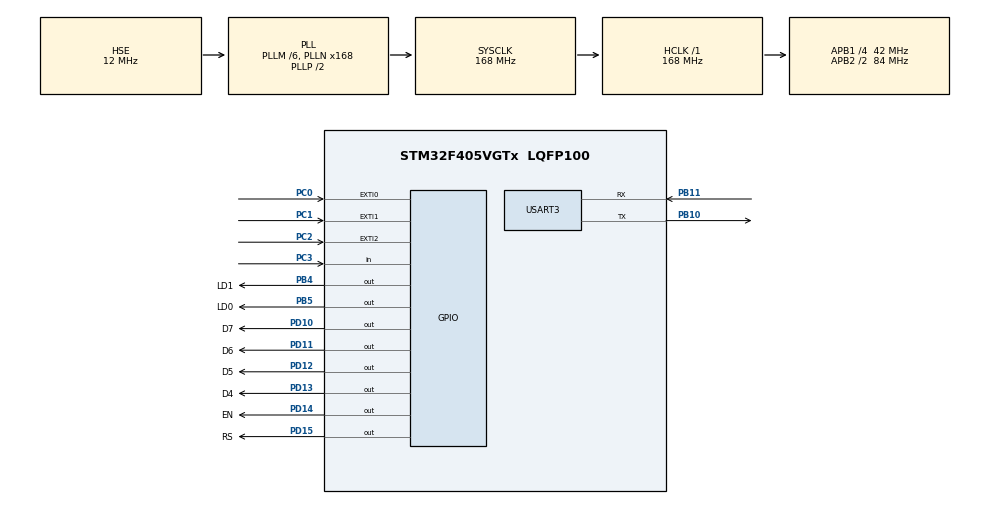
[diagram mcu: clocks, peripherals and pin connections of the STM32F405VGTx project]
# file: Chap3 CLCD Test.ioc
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Mcu.Family=STM32F4
Mcu.Name=STM32F405VGTx
Mcu.Package=LQFP100
NVIC.EXTI0_IRQn=true\:0\:0\:false\:true\:true\:1\:true\:true\:true
NVIC.EXTI1_IRQn=true\:0\:0\:false\:true\:true\:2\:true\:true\:true
NVIC.EXTI2_IRQn=true\:0\:0\:false\:true\:true\:3\:true\:true\:true
NVIC.PriorityGroup=NVIC_PRIORITYGROUP_4
NVIC.USART3_IRQn=true\:0\:0\:false\:true\:true\:4\:true\:true\:true
PB10.Mode=Asynchronous
PB10.Signal=USART3_TX
PB11.Mode=Asynchronous
PB11.Signal=USART3_RX
PB4.GPIO_Label=LD1
PB4.Signal=GPIO_Output
PB5.GPIO_Label=LD0
PB5.Signal=GPIO_Output
PC0.GPIO_ModeDefaultEXTI=GPIO_MODE_IT_FALLING
PC0.Signal=GPXTI0
PC1.GPIO_ModeDefaultEXTI=GPIO_MODE_IT_FALLING
PC1.Signal=GPXTI1
PC2.GPIO_ModeDefaultEXTI=GPIO_MODE_IT_FALLING
PC2.Signal=GPXTI2
PC3.Signal=GPIO_Input
PD10.GPIO_Label=D7
PD10.Signal=GPIO_Output
PD11.GPIO_Label=D6
PD11.Signal=GPIO_Output
PD12.GPIO_Label=D5
PD12.Signal=GPIO_Output
PD13.GPIO_Label=D4
PD13.Signal=GPIO_Output
PD14.GPIO_Label=EN
PD14.Signal=GPIO_Output
PD15.GPIO_Label=RS
PD15.Signal=GPIO_Output
PH0-OSC_IN.Mode=HSE-External-Oscillator
PH0-OSC_IN.Signal=RCC_OSC_IN
PH1-OSC_OUT.Mode=HSE-External-Oscillator
PH1-OSC_OUT.Signal=RCC_OSC_OUT
ProjectManager.HeapSize=0x200
ProjectManager.StackSize=0x400
ProjectManager.TargetToolchain=STM32CubeIDE
RCC.48MHZClocksFreq_Value=84000000
RCC.AHBFreq_Value=168000000
RCC.APB1CLKDivider=RCC_HCLK_DIV4
RCC.APB1Freq_Value=42000000
RCC.APB1TimFreq_Value=84000000
RCC.APB2CLKDivider=RCC_HCLK_DIV2
RCC.APB2Freq_Value=84000000
RCC.APB2TimFreq_Value=168000000
RCC.CortexFreq_Value=168000000
RCC.HCLKFreq_Value=168000000
RCC.HSE_VALUE=12000000
RCC.HSI_VALUE=16000000
RCC.LSE_VALUE=32768
RCC.PLLM=6
RCC.PLLN=168
RCC.PLLSourceVirtual=RCC_PLLSOURCE_HSE
RCC.SYSCLKFreq_VALUE=168000000
RCC.SYSCLKSource=RCC_SYSCLKSOURCE_PLLCLK
RCC.VCOOutputFreq_Value=336000000
TIM4.Prescaler=83
USART3.VirtualMode=VM_ASYNC
VP_TIM4_VS_ClockSourceINT.Mode=Internal
board=custom

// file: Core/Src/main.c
/* USER CODE BEGIN Header */
/**
  ******************************************************************************
  * @file           : main.c
  * @brief          : Main program body
  ******************************************************************************
  * @attention
  *
  * Copyright (c) 2025 STMicroelectronics.
  * All rights reserved.
  *
  * This software is licensed under terms that can be found in the LICENSE file
  * in the root directory of this software component.
  * If no LICENSE file comes with this software, it is provided AS-IS.
  *
  ******************************************************************************
  */
/* USER CODE END Header */
#include "main.h"
#include "tim.h"
#include "usart.h"
#include "gpio.h"

/* USER CODE BEGIN Includes */
#include "stdio.h"
#include "CLCD.h"

/* USER CODE END Includes */

/* USER CODE BEGIN PM */
int _write(int file, char* p, int len){
	HAL_UART_Transmit(&huart3, p, len, 10);
	return len;
}

/* USER CODE END PM */

/* USER CODE BEGIN PV */
uint8_t rx_data = 0;

/* USER CODE END PV */

void SystemClock_Config(void);
static void MX_NVIC_Init(void);

int main(void)
{

  /* MCU Configuration--------------------------------------------------------*/

  /* Reset of all peripherals, Initializes the Flash interface and the Systick. */
  HAL_Init();

  /* Configure the system clock */
  SystemClock_Config();

  /* Initialize all configured peripherals */
  MX_GPIO_Init();
  MX_USART3_UART_Init();
  MX_TIM4_Init();

  /* Initialize interrupts */
  MX_NVIC_Init();
  /* USER CODE BEGIN 2 */
//  uint8_t i = 314;
//  float f = 3.14;
//
//  uint8_t tx_data = 'a';

//  HAL_UART_Receive_IT(&huart3, &rx_data, 1);

  lcd_Init(4, 20);
  uint8_t str[21];
  uint8_t cnt = 0;
  float f = 3.14;
  /* USER CODE END 2 */

  /* Infinite loop */
  /* USER CODE BEGIN WHILE */
  while (1)
  {
	  sprintf(str, "count: %d", cnt);
	  lcd_setCurStr(0, 0, str);
	  cnt++;

	  sprintf(str, "count: %.2f", f);
	  lcd_setCurStr(0, 1, str);
	  HAL_Delay(1000);
//	  printf("a\n"); // 문자 출력 테스트
//	  printf("apple\n"); // 문자열 출력 테스트
//	  printf("%d\n", i); // 정수 출력 테스트
//	  printf("%f\n", f); // 실수 출력 테스트
//	  HAL_Delay(1000);
//
//	  HAL_GPIO_TogglePin(LD0_GPIO_Port, LD0_Pin);
//	  HAL_Delay(1000);	 HAL_GPIO_WritePin(GPIOB, GPIO_PIN_4, GPIO_PIN_RESET);

//	  uint8_t rx_data = 0;
//	  if(HAL_UART_Receive(&huart3, &rx_data, 1, 1000) == HAL_OK)
//		  HAL_UART_Transmit(&huart3, &rx_data, 1, 1000);

//	  uint8_t rx_data = 0;
//	  if(HAL_UART_Receive(&huart3, &rx_data, 1, 1000) == HAL_OK) {
//		  if(rx_data == 'a') HAL_GPIO_WritePin(LD0_GPIO_Port, LD0_Pin, GPIO_PIN_SET);
//		  else if(rx_data == 'b') HAL_GPIO_WritePin(LD0_GPIO_Port, LD0_Pin, GPIO_PIN_RESET);
//	  }
//
//	  HAL_Delay(10);
    /* USER CODE END WHILE */

  }
}

void SystemClock_Config(void)
{
  RCC_OscInitTypeDef RCC_OscInitStruct = {0};
  RCC_ClkInitTypeDef RCC_ClkInitStruct = {0};

  /** Configure the main internal regulator output voltage
  */
  __HAL_RCC_PWR_CLK_ENABLE();
  __HAL_PWR_VOLTAGESCALING_CONFIG(PWR_REGULATOR_VOLTAGE_SCALE1);

  /** Initializes the RCC Oscillators according to the specified parameters
  * in the RCC_OscInitTypeDef structure.
  */
  RCC_OscInitStruct.OscillatorType = RCC_OSCILLATORTYPE_HSE;
  RCC_OscInitStruct.HSEState = RCC_HSE_ON;
  RCC_OscInitStruct.PLL.PLLState = RCC_PLL_ON;
  RCC_OscInitStruct.PLL.PLLSource = RCC_PLLSOURCE_HSE;
  RCC_OscInitStruct.PLL.PLLM = 6;
  RCC_OscInitStruct.PLL.PLLN = 168;
  RCC_OscInitStruct.PLL.PLLP = RCC_PLLP_DIV2;
  RCC_OscInitStruct.PLL.PLLQ = 4;
  if (HAL_RCC_OscConfig(&RCC_OscInitStruct) != HAL_OK)
  {
    Error_Handler();
  }

  /** Initializes the CPU, AHB and APB buses clocks
  */
  RCC_ClkInitStruct.ClockType = RCC_CLOCKTYPE_HCLK|RCC_CLOCKTYPE_SYSCLK
                              |RCC_CLOCKTYPE_PCLK1|RCC_CLOCKTYPE_PCLK2;
  RCC_ClkInitStruct.SYSCLKSource = RCC_SYSCLKSOURCE_PLLCLK;
  RCC_ClkInitStruct.AHBCLKDivider = RCC_SYSCLK_DIV1;
  RCC_ClkInitStruct.APB1CLKDivider = RCC_HCLK_DIV4;
  RCC_ClkInitStruct.APB2CLKDivider = RCC_HCLK_DIV2;

  if (HAL_RCC_ClockConfig(&RCC_ClkInitStruct, FLASH_LATENCY_5) != HAL_OK)
  {
    Error_Handler();
  }
}

/**
  * @brief NVIC Configuration.
  * @retval None
  */
static void MX_NVIC_Init(void)
{
  /* EXTI0_IRQn interrupt configuration */
  HAL_NVIC_SetPriority(EXTI0_IRQn, 0, 0);
  HAL_NVIC_EnableIRQ(EXTI0_IRQn);
  /* EXTI1_IRQn interrupt configuration */
  HAL_NVIC_SetPriority(EXTI1_IRQn, 0, 0);
  HAL_NVIC_EnableIRQ(EXTI1_IRQn);
  /* EXTI2_IRQn interrupt configuration */
  HAL_NVIC_SetPriority(EXTI2_IRQn, 0, 0);
  HAL_NVIC_EnableIRQ(EXTI2_IRQn);
  /* USART3_IRQn interrupt configuration */
  HAL_NVIC_SetPriority(USART3_IRQn, 0, 0);
  HAL_NVIC_EnableIRQ(USART3_IRQn);
}

/* USER CODE BEGIN 4 */
void HAL_GPIO_EXTI_Callback(uint16_t GPIO_Pin)
{
	if(GPIO_Pin == GPIO_PIN_0) {

	}
	else if(GPIO_Pin == GPIO_PIN_1) {

	}
	else if(GPIO_Pin == GPIO_PIN_2) {

	}
}

void HAL_UART_RxCpltCallback(UART_HandleTypeDef *huart)
{
	if(huart->Instance == USART3) {
		HAL_UART_Receive_IT(&huart3, &rx_data, 1);
		HAL_UART_Transmit(&huart3, &rx_data, 1, 1000);
	}
}

/* USER CODE END 4 */

void Error_Handler(void)
{
  __disable_irq();
  while (1)
  {
  }
}
